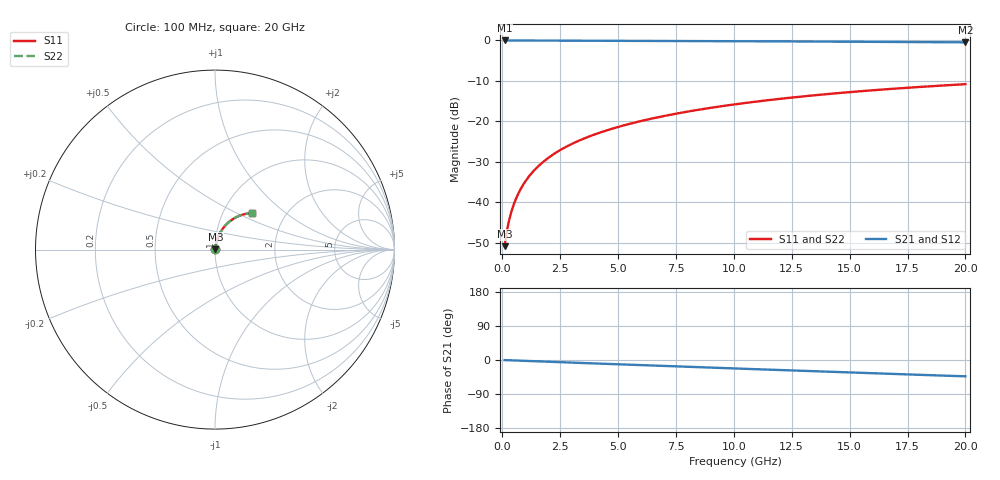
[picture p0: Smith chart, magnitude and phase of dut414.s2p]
! Touchstone file exported from HFSS 2026.1.0
!  File:  C:/ffzhzh/LocalFiles/Ansys_Project_Files/temp_train_BSMRDL_414_1783012604_4048.aedt
!  Generated:  01:18:08 AM Jul  3, 2026
!  Design:  BSMRDL
!  Project:  temp_train_BSMRDL_414_1783012604_4048
! Variables:
!  h_bsmrdl = 5.64um
!  h_ox = 20um
!  h_rdl = 5um
!  h_sub = 80um
!  h_tmrdl = 5um
!  h_tsv = 80um
!  h_via = 3um
!  l_bsmrdl = 699.3um
!  l_sub = 1099.3um
!  l_tmrdl = 200um
!  m_sub = 200um
!  pitch = 42.67um
!  r_tsv = 6um
!  s_tmrdl = 10um
!  w_bsmrdl = 24.12um
!  w_sub = 500um
!  w_tmrdl = 12um
!  x_tsv_center1 = 206um
!  x_tsv_center2 = 929.42um
!  x_tsv_center3 = 1141.42um
!  x_tsv_center4 = 1864.84um
!  x_tsv_center5 = 2076.84um
!  x_tsv_center6 = 2800.26um
# GHz S MA R 50.000000
! Terminal data exported
! Port[1] = BSM_RDL1_1_T1
! Port[2] = BSM_RDL1_1_T2
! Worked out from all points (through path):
!   200 points, 100 MHz to 20 GHz, reference 50 ohm
!   highest |S21| = -0.02 dB at 100 MHz (marker M1); lowest = -0.5 dB at 20 GHz (marker M2)
!   group delay of S21, straight-line fit = 5.98 ps
!   lowest |S11| = -50.8 dB at 100 MHz (marker M3), VSWR 1.01, Z = 50.2 + j0.204 ohm
!   |S11| at or under -10 dB: start of sweep to end of sweep
!   |S22| runs from -50.8 to -10.8 dB; largest |S21 - S12| = 2.8e-15
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0.1  0.002882 44.9  0.998 -0.2  0.998 -0.2  0.002882 44.9
! Gamma 0 0 0 0
! Port Impedance 50 0 50 0
0.2  0.004481 59.8  0.9978 -0.5  0.9978 -0.5  0.004481 59.8
0.3  0.006128 66.8  0.9976 -0.7  0.9976 -0.7  0.006128 66.8
0.4  0.007807 70.9  0.9975 -0.9  0.9975 -0.9  0.007807 70.9
0.5  0.009514 73.7  0.9975 -1.2  0.9975 -1.2  0.009514 73.7
0.6  0.01124 75.5  0.9974 -1.4  0.9974 -1.4  0.01124 75.5
0.8  0.01473 77.8  0.9972 -1.9  0.9972 -1.9  0.01473 77.8
1.1  0.02 79.3  0.997 -2.5  0.997 -2.5  0.02 79.3
1.3  0.02351 79.7  0.9968 -3.0  0.9968 -3.0  0.02351 79.7
1.5  0.027 79.9  0.9965 -3.5  0.9965 -3.5  0.027 79.9
1.8  0.03222 79.8  0.9961 -4.1  0.9961 -4.1  0.03222 79.9
2.1  0.0374 79.6  0.9957 -4.8  0.9957 -4.8  0.0374 79.6
2.7  0.04762 78.8  0.9947 -6.2  0.9947 -6.2  0.04762 78.8
3.5  0.06097 77.4  0.9932 -8.0  0.9932 -8.0  0.06097 77.4
4.2  0.07244 76.1  0.9919 -9.5  0.9919 -9.5  0.07244 76.1
5  0.08534 74.6  0.9902 -11.3  0.9902 -11.3  0.08534 74.6
6.8  0.1137 71.0  0.9862 -15.3  0.9862 -15.3  0.1137 71.1
8.3  0.1366 68.1  0.9826 -18.5  0.9826 -18.5  0.1366 68.1
10.1  0.1631 64.5  0.9778 -22.4  0.9778 -22.4  0.1631 64.5
13.4  0.209 57.8  0.968 -29.5  0.968 -29.5  0.209 57.9
16.7  0.2507 51.2  0.9573 -36.4  0.9573 -36.4  0.2507 51.3
20  0.2878 44.7  0.9463 -43.1  0.9463 -43.1  0.2878 44.8
